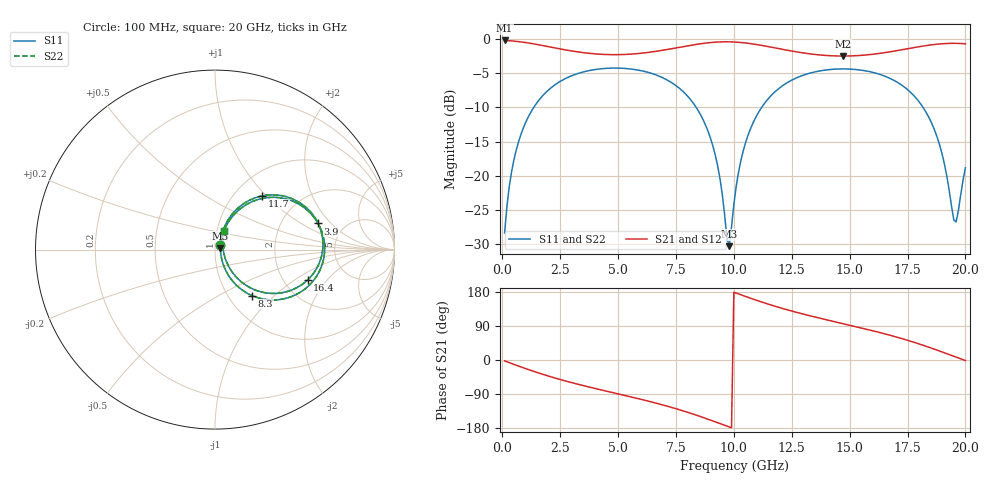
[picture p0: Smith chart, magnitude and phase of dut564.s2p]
! Touchstone file exported from HFSS 2026.1.0
!  File:  C:/ffzhzh/LocalFiles/Ansys_Project_Files/temp_train_TSV_RDL_564_1783116760_53076.aedt
!  Generated:  06:29:34 AM Jul  4, 2026
!  Design:  TSV_RDL
!  Project:  temp_train_TSV_RDL_564_1783116760_53076
! Variables:
!  h_bsmrdl = 3.28um
!  h_ox = 20um
!  h_rdl = 5um
!  h_sub = 97.57um
!  h_tmrdl = 4.16um
!  h_tsv = 97.57um
!  h_via = 3um
!  l_bsmrdl = 675.39um
!  l_sub = 5955.12um
!  l_tmrdl = 852.74um
!  m_sub = 200um
!  pitch = 57.07um
!  r_tsv = 8.33um
!  s_tmrdl = 10um
!  w_bsmrdl = 22.04um
!  w_sub = 500um
!  w_tmrdl = 17.29um
!  x_tsv_center1 = 861.385um
!  x_tsv_center2 = 1558.815um
!  x_tsv_center3 = 2428.845um
!  x_tsv_center4 = 3126.275um
!  x_tsv_center5 = 3996.305um
!  x_tsv_center6 = 4693.735um
# GHz S MA R 50.000000
! Terminal data exported
! Port[1] = TM_RDL1_1_T1
! Port[2] = TM_RDL5_1_T1
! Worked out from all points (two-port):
!   200 points, 100 MHz to 20 GHz, reference 50 ohm
!   highest |S21| = -0.25 dB at 100 MHz (marker M1); lowest = -2.5 dB at 14.7 GHz (marker M2)
!   |S21| within 3 dB of the highest: start of sweep to end of sweep
!   lowest |S11| = -30.3 dB at 9.8 GHz (marker M3), VSWR 1.06, Z = 53.1 + j0.691 ohm
!   |S11| at or under -10 dB: start of sweep to 1.362 GHz; 8.371 GHz to 11.2 GHz (2.833 GHz wide, 28.9 % of centre); 18.17 GHz to end of sweep
!   |S22| runs from -30.2 to -4.3 dB; largest |S21 - S12| = 1.7e-14
!   S11 on the Smith chart (normalised r, x): 100 MHz: 1.06, +0.05; 3.9 GHz: 3.21, +1.44; 8.3 GHz: 1.28, -0.74; 11.7 GHz: 1.33, +0.95; 16.4 GHz: 2.68, -1.29; 20 GHz: 1.08, +0.23
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0.1  0.03839 41.6  0.972 -2.4  0.972 -2.4  0.03839 41.6
! Gamma 0 0 0 0
! Port Impedance 50 0 50 0
0.5  0.1305 64.9  0.9613 -11.6  0.9613 -11.6  0.1305 64.9
1.1  0.2642 58.5  0.9333 -24.7  0.9333 -24.7  0.2642 58.5
2.1  0.4382 41.7  0.8687 -44.4  0.8687 -44.4  0.4382 41.7
3.5  0.573 19.9  0.7921 -67.6  0.7921 -67.6  0.573 19.9
3.9  0.5925 14.2  0.7788 -73.6  0.7788 -73.6  0.5924 14.2
6.8  0.5315 -26.5  0.8176 -116.4  0.8176 -116.4  0.5315 -26.5
8.3  0.3296 -51.2  0.9055 -143.9  0.9055 -143.9  0.3296 -51.1
9.2  0.1413 -62.8  0.9444 -163.1  0.9444 -163.1  0.1414 -62.7
9.8  0.03071 12.2  0.9499 -176.6  0.9499 -176.6  0.03089 12.2
10.1  0.08342 64.0  0.9453 176.6  0.9453 176.6  0.0835 63.8
10.7  0.2164 64.4  0.923 163.4  0.923 163.4  0.2165 64.3
11.7  0.3991 48.6  0.8629 143.3  0.8629 143.3  0.3991 48.6
13.4  0.568 22.7  0.7717 115.0  0.7717 115.0  0.568 22.7
14.7  0.6026 5.1  0.7481 96.1  0.7481 96.1  0.6026 5.1
16.4  0.5431 -18.1  0.7866 70.9  0.7866 70.9  0.5431 -18.1
16.7  0.5183 -22.5  0.8008 66.1  0.8008 66.1  0.5183 -22.5
18.5  0.2512 -49.8  0.9016 32.1  0.9016 32.1  0.2512 -49.8
19  0.143 -52.2  0.9199 21.1  0.9199 21.1  0.143 -52.3
19.5  0.04775 -10.4  0.9264 9.9  0.9264 9.9  0.04756 -10.5
19.6  0.04605 17.5  0.9261 7.6  0.9261 7.6  0.04586 17.6
20  0.1147 64.4  0.9193 -1.4  0.9193 -1.4  0.1146 64.5
